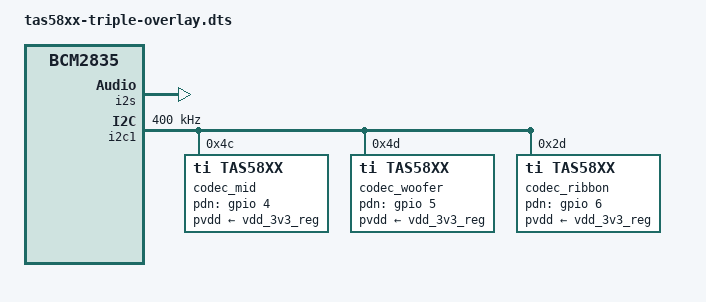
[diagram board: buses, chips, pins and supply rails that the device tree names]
// Definitions for a Triple TAS58xx setup on ONE shared I2S data line (TDM).
// BeatBird / Lounge — 3 amp boards wired side-by-side, common I2C + I2S + GND.
//
//   codec_mid    TAS5825M @ 0x4c  stereo  -> Mid L / Mid R   -> TDM slots 0,1  (offset 0)
//   codec_woofer TAS5825M @ 0x4d  PBTL    -> 8" woofer (mono) -> TDM slot  2    (offset 64)
//   codec_ribbon TAS5805M @ 0x2d  stereo  -> Ribbon L / R     -> TDM slots 4,5  (offset 128)
//
// ALL chips run FLAT (ti,eq-mode = 0): every crossover / EQ / delay / level
// lives in CamillaDSP. This is the opposite of the old internal-EQ-crossover
// approach — that one dead-ended at voicing on the Pi 4, which is why this
// 6-channel-into-CamillaDSP design exists.
//
// 8 TDM slots x 32-bit = 256 fS SCLK @ 48 kHz, a valid TDM ratio (TAS5825M
// datasheet Table 9-1). A 6-slot frame would be 192 fS, which is NOT a listed
// ratio -> clock error. So the frame is 8 slots; slots 3/6/7 stay empty.
//
// Requires the TDM patch to the Sonocotta tas58xx driver
// (install/patches/tas58xx-tdm-slots.patch): adds `ti,tdm-slot-offset` and
// raises the DAI channel max to 8.
//
// !!! DRAFT — two things to confirm with Andriy (Sonocotta) before trusting
//     amplifier output, especially the flat ribbon channel:
//   1. The SAP_CTRL1 (0x33) TDM format value baked into the driver patch.
//   2. The multi-codec DAI-link DAPM wiring below — whether listing all three
//      codecs on one dai-link is the right way to get each chip to power up
//      and decode its own slots, vs the dual overlay's aux-dev + DAC-IN tap.
//      (The tap is deliberately NOT used here: in TDM each chip reads its own
//      slots straight off the bus, it must not share the primary's stream.)
//
// dtc -I dts -O dtb -W no-unit_address_vs_reg -W no-graph_child_address \
//     -o /boot/firmware/overlays/tas58xx-triple.dtbo tas58xx-triple-overlay.dts
// config.txt: dtoverlay=tas58xx-triple<,i2creg_mid=0x4c><,i2creg_woofer=0x4d><,i2creg_ribbon=0x2d>
/dts-v1/;
/plugin/;

/ {
    compatible = "brcm,bcm2835";

    fragment@0 {
        target = <&i2s>;
        __overlay__ {
            status = "okay";
        };
    };

    fragment@1 {
        target = <&i2c1>;
        __overlay__ {
            status = "okay";
            clock-frequency = <400000>;
            #address-cells = <1>;
            #size-cells = <0>;

            /* ── Mid: TAS5825M @ 0x4c, stereo, slots 0/1 ────────────────── */
            codec_mid: tas58xx@4c {
                #sound-dai-cells = <0>;
                compatible = "ti,tas58xx";
                reg = <0x4c>;
                pvdd-supply = <&vdd_3v3_reg>;
                pdn-gpios = <&gpio 4 0>;
                sound-name-prefix = "Mid";
                ti,modulation-mode = <0>;   /* BD */
                ti,switching-freq = <0>;    /* 768K */
                ti,eq-mode = <0>;           /* OFF — flat, crossover is in CamillaDSP */
                ti,mixer-mode = <0>;        /* Stereo: OUTA=L(slot0), OUTB=R(slot1) */
                ti,tdm-slot-offset = <0>;   /* slots 0,1 */
            };

            /* ── Woofer: TAS5825M @ 0x4d, PBTL mono, slot 2 ─────────────── */
            codec_woofer: tas58xx@4d {
                #sound-dai-cells = <0>;
                compatible = "ti,tas58xx";
                reg = <0x4d>;
                pvdd-supply = <&vdd_3v3_reg>;
                pdn-gpios = <&gpio 5 0>;
                sound-name-prefix = "Woofer";
                ti,modulation-mode = <0>;
                ti,switching-freq = <0>;
                ti,bridge-mode;             /* PBTL — more power into the 8" */
                ti,eq-mode = <0>;           /* OFF — flat; CamillaDSP does the LP */
                ti,mixer-mode = <1>;        /* Mono — its slot carries the woofer feed */
                ti,tdm-slot-offset = <64>;  /* slot 2 (slots 2,3; uses 2) */
            };

            /* ── Ribbon: TAS5805M @ 0x2d, stereo, slots 4/5 ─────────────── */
            codec_ribbon: tas58xx@2d {
                #sound-dai-cells = <0>;
                compatible = "ti,tas58xx";
                reg = <0x2d>;
                pvdd-supply = <&vdd_3v3_reg>;
                pdn-gpios = <&gpio 6 0>;
                sound-name-prefix = "Ribbon";
                ti,modulation-mode = <0>;
                ti,switching-freq = <0>;
                ti,eq-mode = <0>;           /* OFF — flat; CamillaDSP does the HP */
                ti,mixer-mode = <0>;        /* Stereo: OUTA=L(slot4), OUTB=R(slot5) */
                ti,tdm-slot-offset = <128>; /* slots 4,5 */
                /* No fault-monitor: TAS5805M phantom thermal faults in multi-DAC */
            };
        };
    };

    fragment@2 {
        target = <&sound>;
        __overlay__ {
            status = "okay";
            compatible = "simple-audio-card";
            label = "Louder-Raspberry-Triple";
            simple-audio-card,dai-link {
                /* TDM frame: 8 slots x 32-bit, dsp_a framing. */
                format = "dsp_a";
                bitclock-master = <&dailink_master>;
                frame-master = <&dailink_master>;
                dailink_master: cpu {
                    sound-dai = <&i2s>;
                    dai-tdm-slot-num = <8>;
                    dai-tdm-slot-width = <32>;
                };
                /* Multi-codec link: all three chips receive the TDM frame;
                 * each decodes its own slots (set per codec via the driver
                 * patch from ti,tdm-slot-offset). DRAFT — confirm wiring. */
                codec {
                    sound-dai = <&codec_mid>, <&codec_woofer>, <&codec_ribbon>;
                };
            };
        };
    };

    __overrides__ {
        i2creg_mid    = <&codec_mid>,"reg:<>";
        i2creg_woofer = <&codec_woofer>,"reg:<>";
        i2creg_ribbon = <&codec_ribbon>,"reg:<>";
        firmware_mid    = <&codec_mid>,"ti,dsp-config-name";
        firmware_woofer = <&codec_woofer>,"ti,dsp-config-name";
        firmware_ribbon = <&codec_ribbon>,"ti,dsp-config-name";
    };
};
